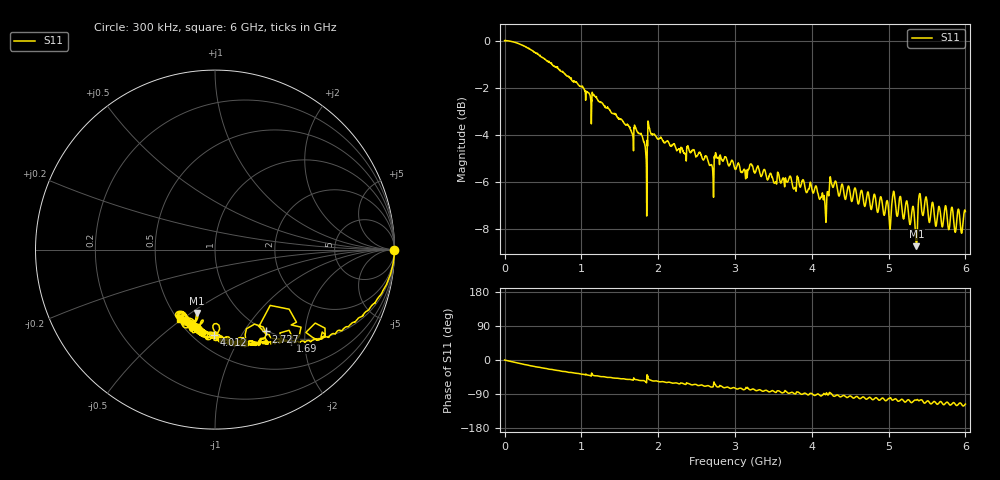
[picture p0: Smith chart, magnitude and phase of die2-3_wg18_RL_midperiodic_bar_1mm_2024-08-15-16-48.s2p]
!Keysight Technologies,P9374A,MY57304198,A.17.20.09
!Date: Thursday, August 15, 2024 16:48:41
!Correction: S11(C  1-Port  )
!S21(C  1-Port  )
!S12(Off)
!S22(Off)
!S2P File: Measurements: S11, S21, S12, S22:
# Hz S  dB  R 50
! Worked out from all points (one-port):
!   6000 points, 300 kHz to 6 GHz, reference 50 ohm
!   lowest |S11| = -8.7 dB at 5.363 GHz (marker M1), VSWR 2.16, Z = 32.5 - j26.4 ohm
!   |S11| at or under -10 dB: nowhere
!   S11 on the Smith chart (normalised r, x): 300 kHz: open; 1.69 GHz: 0.96, -1.72; 2.727 GHz: 0.99, -1.27; 4.012 GHz: 0.63, -0.77; 6 GHz: 0.52, -0.49
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300000  -0.00 -0.0  -200.00 45.0  -200.00 45.0  -200.00 45.0
4.953578e8  -0.72 -21.3  -200.00 45.0  -200.00 45.0  -200.00 45.0
1.000417e9  -1.95 -37.4  -200.00 45.0  -200.00 45.0  -200.00 45.0
1.690497e9  -3.61 -50.2  -200.00 45.0  -200.00 45.0  -200.00 45.0
1.789509e9  -4.04 -54.2  -200.00 45.0  -200.00 45.0  -200.00 45.0
1.838514e9  -4.81 -57.8  -200.00 45.0  -200.00 45.0  -200.00 45.0
1.88352e9  -3.70 -51.7  -200.00 45.0  -200.00 45.0  -200.00 45.0
2.000533e9  -4.19 -56.7  -200.00 45.0  -200.00 45.0  -200.00 45.0
2.689614e9  -5.27 -71.3  -200.00 45.0  -200.00 45.0  -200.00 45.0
2.726618e9  -5.39 -58.0  -200.00 45.0  -200.00 45.0  -200.00 45.0
3.00065e9  -5.46 -74.2  -200.00 45.0  -200.00 45.0  -200.00 45.0
4.000767e9  -6.29 -88.6  -200.00 45.0  -200.00 45.0  -200.00 45.0
4.011768e9  -6.44 -90.4  -200.00 45.0  -200.00 45.0  -200.00 45.0
4.169786e9  -6.88 -90.5  -200.00 45.0  -200.00 45.0  -200.00 45.0
4.239795e9  -5.78 -86.6  -200.00 45.0  -200.00 45.0  -200.00 45.0
4.54383e9  -6.48 -100.7  -200.00 45.0  -200.00 45.0  -200.00 45.0
5.000883e9  -7.24 -101.7  -200.00 45.0  -200.00 45.0  -200.00 45.0
5.301919e9  -7.30 -112.4  -200.00 45.0  -200.00 45.0  -200.00 45.0
5.362926e9  -8.73 -105.7  -200.00 45.0  -200.00 45.0  -200.00 45.0
5.409931e9  -6.52 -105.9  -200.00 45.0  -200.00 45.0  -200.00 45.0
5.620956e9  -7.84 -115.1  -200.00 45.0  -200.00 45.0  -200.00 45.0
6e9  -7.26 -116.3  -200.00 45.0  -200.00 45.0  -200.00 45.0
